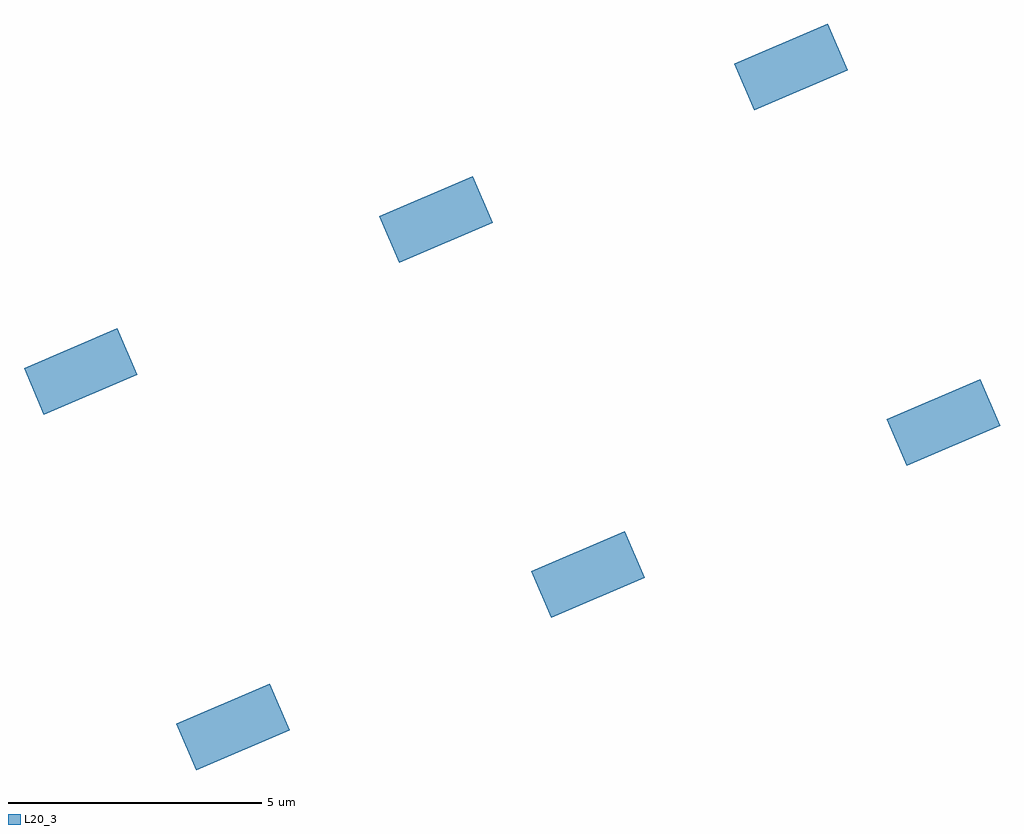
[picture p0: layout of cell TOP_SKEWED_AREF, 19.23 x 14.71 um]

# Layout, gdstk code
from math import pi, radians
import gdstk
lib = gdstk.Library(unit=1e-6, precision=1e-09)
def R(c, l, rs):  # rectangles x0, y0, x1, y1
    for r in rs: c.add(gdstk.rectangle(r[:2], r[2:], *l))
L20_3 = (20, 3)

array_leaf = lib.new_cell('ARRAY_LEAF')
R(array_leaf, L20_3, [(0,0,2,1)])

top_skewed_aref = lib.new_cell('TOP_SKEWED_AREF')
r = gdstk.Reference(array_leaf, (10,20), rotation=radians(23.1986)); r.repetition = gdstk.Repetition(3, 2, v1=(7,3), v2=(-3,7)); top_skewed_aref.add(r)

lib.write_gds('TOP_SKEWED_AREF.gds')
